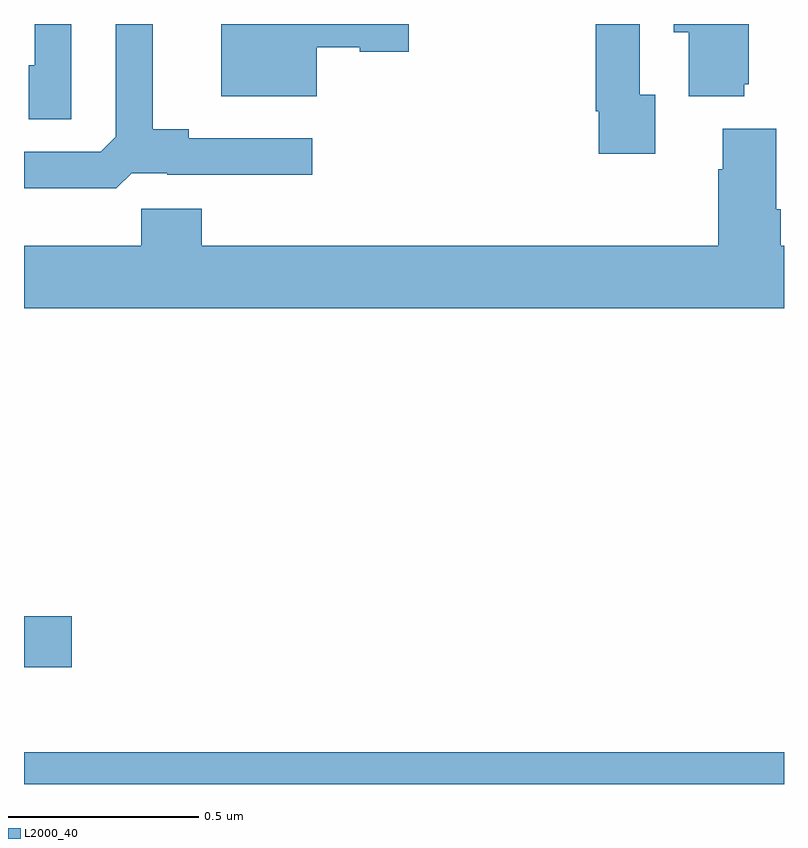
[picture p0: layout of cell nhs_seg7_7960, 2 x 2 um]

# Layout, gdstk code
import gdstk
lib = gdstk.Library(unit=1e-6, precision=1e-09)
def R(c, l, rs):  # rectangles x0, y0, x1, y1
    for r in rs: c.add(gdstk.rectangle(r[:2], r[2:], *l))
def P(c, l, *ps):  # polygons
    for p in ps: c.add(gdstk.Polygon(p, *l))
L2000_40 = (2000, 40)

nhs_seg7_7960 = lib.new_cell('nhs_seg7_7960')
R(nhs_seg7_7960, L2000_40, [(218,1030,220,1030.084), (218,1030.307,218.125,1030.442)])
P(nhs_seg7_7960, L2000_40, [(218.124,1032),(218.028,1032),(218.028,1031.892),(218.012,1031.892),(218.012,1031.749),(218.124,1031.749)],
  [(219.896,1031.841),(219.907,1031.841),(219.907,1032),(219.71,1032),(219.71,1031.978),(219.749,1031.978),(219.749,1031.81),(219.896,1031.81)],
  [(218.283,1031.607),(218.377,1031.607),(218.377,1031.603),(218.758,1031.603),(218.758,1031.7),(218.434,1031.7),(218.434,1031.723),(218.339,1031.723),(218.339,1032),(218.241,1032),(218.241,1031.703),(218.202,1031.664),(218,1031.664),(218,1031.568),(218.243,1031.568)],
  [(218.77,1031.939),(218.883,1031.939),(218.883,1031.927),(219.013,1031.927),(219.013,1032),(218.519,1032),(218.519,1031.81),(218.77,1031.81)],
  [(219.661,1031.814),(219.621,1031.814),(219.621,1032),(219.505,1032),(219.505,1031.77),(219.513,1031.77),(219.513,1031.658),(219.661,1031.658)],
  [(220,1031.416),(219.992,1031.416),(219.992,1031.512),(219.979,1031.512),(219.979,1031.725),(219.839,1031.725),(219.839,1031.618),(219.827,1031.618),(219.827,1031.416),(218.468,1031.416),(218.468,1031.514),(218.308,1031.514),(218.308,1031.416),(218,1031.416),(218,1031.252),(220,1031.252)])

lib.write_gds('nhs_seg7_7960.gds')
